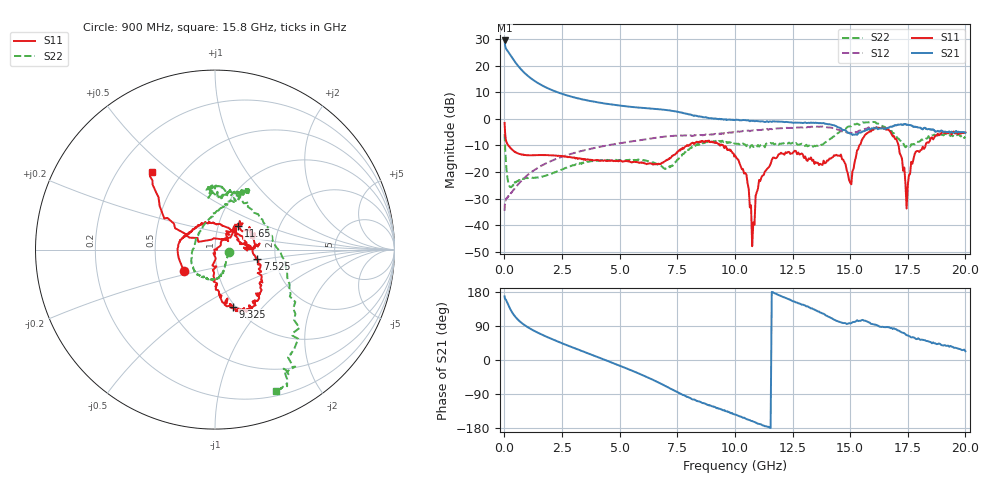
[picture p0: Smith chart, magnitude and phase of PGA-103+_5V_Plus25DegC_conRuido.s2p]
!Mini-Circuits Laboratory
!S-Parameters, Port extension performed
!Model: PGA-103+
!Run / Lot / Date Code: N/A / BP170-001-01-101EV / 1210
!Fixture: TB-313
!Network Analyzer: PNA-X N5242A - 423 4 ports;  Serial number: 71013
!Date: 5/23/2012 at 10:34:50 AM
!S/N: Unit# 1
!Tested with: VDD=5V AT 25C
# Hz  S  dB  R  50
!Frequency  S11 dB  S11 Deg  S21 dB  S21 Deg  S12 dB  S12 Deg  S22 dB  S22 Deg
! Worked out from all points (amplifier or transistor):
!   660 points, 10 MHz to 20 GHz, reference 50 ohm
!   highest |S21| = 29.5 dB at 10 MHz (marker M1)
!   |S21| within 3 dB of that: start of sweep to 64.97 MHz
!   unconditionally stable (mu >= 1): 116.5 MHz to 15.06 GHz; 16.84 GHz to end of sweep
!   at 1.275 GHz: K = 1.11, MAG = 14.9 dB, |S12| = -19.4 dB
!   at 6.775 GHz: K = 1.03, MAG = 4.2 dB, |S12| = -6.9 dB
!   at 20 GHz: K = 1.27, MAG = -3.1 dB, |S12| = -5.3 dB
!   lowest NFmin = 0.50 dB at 10 MHz
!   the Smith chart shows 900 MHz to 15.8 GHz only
!   S11 on the Smith chart (normalised r, x): 900 MHz: 0.69, -0.17; 7.525 GHz: 1.60, -0.18; 9.325 GHz: 0.98, -0.70; 11.65 GHz: 1.25, +0.34; 15.8 GHz: 0.35, +0.43
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1e7  -1.55 -19.2  29.46 167.7  -34.63 53.8  -5.80 -23.4
5e7  -6.94 -39.5  26.82 160.2  -30.76 21.1  -13.93 -59.1
8e7  -8.44 -42.9  26.23 157.4  -30.00 22.7  -17.95 -59.9
2.1e8  -10.43 -65.7  24.64 139.8  -28.77 29.6  -25.15 -30.8
3.6e8  -11.77 -91.7  22.67 123.4  -27.13 38.8  -25.14 -5.9
5.9e8  -13.00 -120.6  19.94 106.3  -24.69 47.2  -23.34 -0.4
9e8  -13.62 -145.8  17.04 91.1  -21.98 51.0  -22.37 -8.4
1.275e9  -13.71 -165.0  14.45 77.5  -19.40 50.4  -22.25 -21.9
1.825e9  -13.64 177.7  11.72 61.4  -16.67 45.7  -21.31 -41.6
3.35e9  -15.17 149.4  7.32 23.9  -12.12 23.2  -17.00 -77.0
6.675e9  -16.97 57.0  3.62 -59.1  -7.03 -46.2  -17.16 -162.1
7.525e9  -12.36 -12.9  2.61 -85.1  -6.31 -70.5  -15.35 101.9
9.325e9  -9.52 -72.5  -0.00 -128.5  -5.56 -115.0  -8.38 61.9
1.005e10  -14.47 -86.4  -0.31 -144.5  -4.77 -132.2  -9.31 70.0
1.08e10  -38.92 -3.4  -0.76 -162.6  -4.34 -151.5  -10.60 83.8
1.165e10  -14.63 45.3  -0.94 178.9  -3.65 -171.4  -9.12 96.3
1.335e10  -15.74 11.6  -1.53 136.4  -3.02 144.2  -10.31 45.2
1.5e10  -23.98 95.2  -5.57 96.8  -5.32 108.5  -2.89 -53.7
1.58e10  -5.11 128.9  -3.63 99.5  -3.20 99.9  -1.33 -66.5
1.67e10  -4.42 90.5  -3.23 86.4  -3.22 86.3  -4.12 -69.8
1.745e10  -33.74 108.2  -2.25 65.5  -2.26 65.5  -10.28 -17.7
2e10  -5.11 161.3  -5.27 23.3  -5.28 23.2  -6.69 27.5
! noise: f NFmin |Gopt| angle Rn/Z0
1e+07  0.5  0  0  0.5
5e+07  0.5  0  0  0.5
4e+08  0.5  0  0  0.5
1e+09  0.6  0  0  0.5
2e+09  0.9  0  0  0.5
3e+09  1.2  0  0  0.5
4e+09  1.5  0  0  0.5
6e+09  1.5  0  0  0.5
